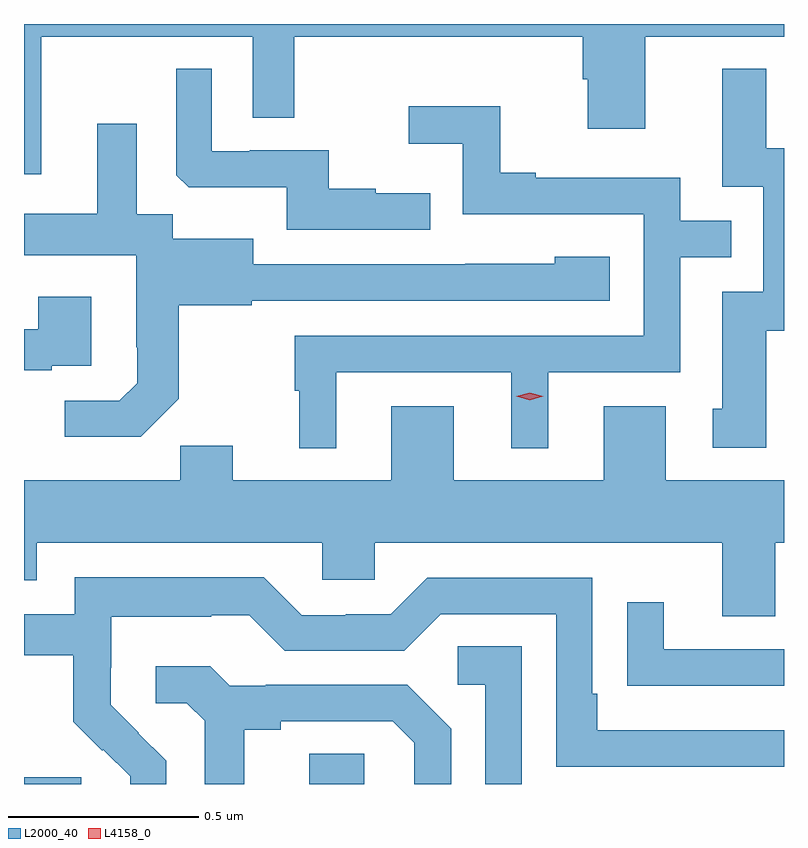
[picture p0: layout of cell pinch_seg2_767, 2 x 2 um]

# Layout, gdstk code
import gdstk
lib = gdstk.Library(unit=1e-6, precision=1e-09)
def R(c, l, rs):  # rectangles x0, y0, x1, y1
    for r in rs: c.add(gdstk.rectangle(r[:2], r[2:], *l))
def P(c, l, *ps):  # polygons
    for p in ps: c.add(gdstk.Polygon(p, *l))
L2000_40 = (2000, 40)
L4158_0 = (4158, 0)

pinch_seg2_767 = lib.new_cell('pinch_seg2_767')
R(pinch_seg2_767, L2000_40, [(825.358,654.993,825.508,655.011), (826.109,654.993,826.254,655.073)])
P(pinch_seg2_767, L2000_40, [(825.403,656.96),(825.96,656.96),(825.96,656.746),(826.069,656.746),(826.069,656.96),(826.829,656.96),(826.829,656.847),(826.841,656.847),(826.841,656.718),(826.993,656.718),(826.993,656.96),(827.358,656.96),(827.358,656.993),(825.358,656.993),(825.358,656.598),(825.403,656.598)],
  [(826.427,656.548),(826.283,656.548),(826.283,656.56),(826.16,656.56),(826.16,656.661),(825.952,656.661),(825.952,656.658),(825.852,656.658),(825.852,656.875),(825.759,656.875),(825.759,656.595),(825.791,656.564),(826.05,656.564),(826.05,656.451),(826.427,656.451)],
  [(827.311,656.186),(827.358,656.186),(827.358,656.666),(827.311,656.666),(827.311,656.875),(827.195,656.875),(827.195,656.565),(827.304,656.565),(827.304,656.289),(827.195,656.289),(827.195,655.98),(827.171,655.98),(827.171,655.878),(827.311,655.878)],
  [(826.18,656.076),(826.64,656.076),(826.64,655.877),(826.738,655.877),(826.738,656.076),(827.085,656.076),(827.085,656.379),(827.219,656.379),(827.219,656.475),(827.085,656.475),(827.085,656.589),(826.705,656.589),(826.705,656.602),(826.611,656.602),(826.611,656.777),(826.371,656.777),(826.371,656.678),(826.512,656.678),(826.512,656.493),(826.989,656.493),(826.989,656.172),(826.071,656.172),(826.071,656.028),(826.082,656.028),(826.082,655.877),(826.18,655.877)],
  [(825.765,656.007),(825.765,656.253),(825.957,656.253),(825.957,656.265),(826.9,656.265),(826.9,656.38),(826.755,656.38),(826.755,656.362),(826.519,656.362),(826.519,656.361),(825.961,656.361),(825.961,656.428),(825.75,656.428),(825.75,656.492),(825.655,656.492),(825.655,656.731),(825.551,656.731),(825.551,656.494),(825.358,656.494),(825.358,656.384),(825.654,656.384),(825.654,656.143),(825.656,656.143),(825.656,656.048),(825.609,656.001),(825.465,656.001),(825.465,655.907),(825.665,655.907)],
  [(825.431,656.094),(825.535,656.094),(825.535,656.275),(825.395,656.275),(825.395,656.19),(825.358,656.19),(825.358,656.082),(825.431,656.082)],
  [(827.335,655.628),(827.358,655.628),(827.358,655.792),(827.047,655.792),(827.047,655.987),(826.883,655.987),(826.883,655.792),(826.489,655.792),(826.489,655.987),(826.325,655.987),(826.325,655.792),(825.907,655.792),(825.907,655.883),(825.769,655.883),(825.769,655.792),(825.358,655.792),(825.358,655.529),(825.391,655.529),(825.391,655.628),(826.143,655.628),(826.143,655.53),(826.281,655.53),(826.281,655.628),(827.195,655.628),(827.195,655.434),(827.335,655.434)],
  [(825.732,655.054),(825.659,655.127),(825.66,655.128),(825.586,655.202),(825.586,655.299),(825.588,655.299),(825.588,655.433),(825.851,655.433),(825.851,655.437),(825.951,655.437),(826.044,655.344),(826.359,655.344),(826.455,655.44),(826.758,655.44),(826.758,655.038),(827.358,655.038),(827.358,655.134),(826.867,655.134),(826.867,655.231),(826.854,655.231),(826.854,655.536),(826.419,655.536),(826.323,655.44),(826.205,655.44),(826.205,655.437),(826.089,655.437),(825.989,655.537),(825.492,655.537),(825.492,655.44),(825.358,655.44),(825.358,655.332),(825.487,655.332),(825.487,655.157),(825.564,655.08),(825.567,655.083),(825.638,655.013),(825.638,654.993),(825.732,654.993)],
  [(827.358,655.347),(827.041,655.347),(827.041,655.471),(826.945,655.471),(826.945,655.252),(827.047,655.252),(827.047,655.251),(827.358,655.251)],
  [(826.668,655.355),(826.5,655.355),(826.5,655.254),(826.572,655.254),(826.572,654.993),(826.668,654.993)],
  [(825.937,655.136),(826.033,655.136),(826.033,655.158),(826.328,655.158),(826.385,655.101),(826.385,654.993),(826.482,654.993),(826.482,655.138),(826.366,655.254),(825.994,655.254),(825.994,655.251),(825.9,655.251),(825.848,655.303),(825.705,655.303),(825.705,655.206),(825.786,655.206),(825.833,655.159),(825.833,654.993),(825.937,654.993)])
P(pinch_seg2_767, L4158_0, [(826.689,656.003),(826.653,656.013),(826.653,656.013),(826.653,656.013),(826.689,656.023),(826.725,656.013),(826.725,656.013),(826.725,656.013)])

lib.write_gds('pinch_seg2_767.gds')
